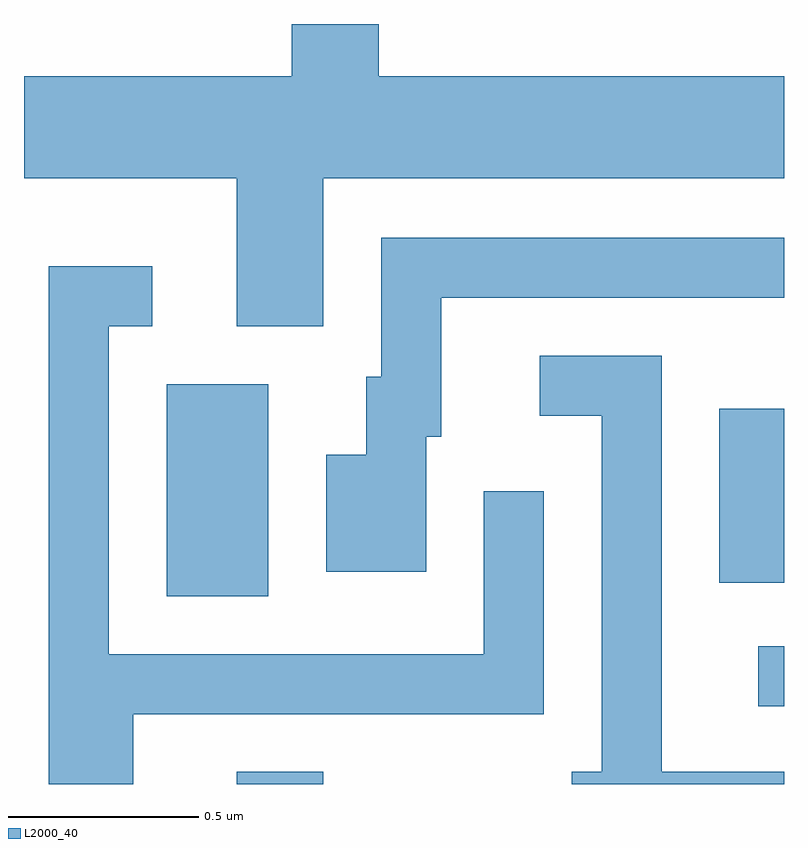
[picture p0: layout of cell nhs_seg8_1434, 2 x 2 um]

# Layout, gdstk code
import gdstk
lib = gdstk.Library(unit=1e-6, precision=1e-09)
def R(c, l, rs):  # rectangles x0, y0, x1, y1
    for r in rs: c.add(gdstk.rectangle(r[:2], r[2:], *l))
def P(c, l, *ps):  # polygons
    for p in ps: c.add(gdstk.Polygon(p, *l))
L2000_40 = (2000, 40)

nhs_seg8_1434 = lib.new_cell('nhs_seg8_1434')
R(nhs_seg8_1434, L2000_40, [(196.171,1870.342,196.399,1870.374), (197.543,1870.546,197.611,1870.704), (195.986,1870.836,196.254,1871.394), (197.441,1870.871,197.611,1871.329)])
P(nhs_seg8_1434, L2000_40, [(196.399,1871.936),(197.611,1871.936),(197.611,1872.204),(196.544,1872.204),(196.544,1872.342),(196.316,1872.342),(196.316,1872.204),(195.611,1872.204),(195.611,1871.936),(196.171,1871.936),(196.171,1871.546),(196.399,1871.546)],
  [(196.669,1871.256),(196.709,1871.256),(196.709,1871.621),(197.611,1871.621),(197.611,1871.779),(196.551,1871.779),(196.551,1871.414),(196.511,1871.414),(196.511,1871.209),(196.406,1871.209),(196.406,1870.901),(196.669,1870.901)],
  [(195.899,1870.526),(196.979,1870.526),(196.979,1871.113),(196.821,1871.113),(196.821,1870.684),(195.834,1870.684),(195.834,1871.546),(195.948,1871.546),(195.948,1871.704),(195.676,1871.704),(195.676,1870.342),(195.899,1870.342)],
  [(197.611,1870.374),(197.289,1870.374),(197.289,1871.469),(196.968,1871.469),(196.968,1871.311),(197.131,1871.311),(197.131,1870.374),(197.053,1870.374),(197.053,1870.342),(197.611,1870.342)])

lib.write_gds('nhs_seg8_1434.gds')
